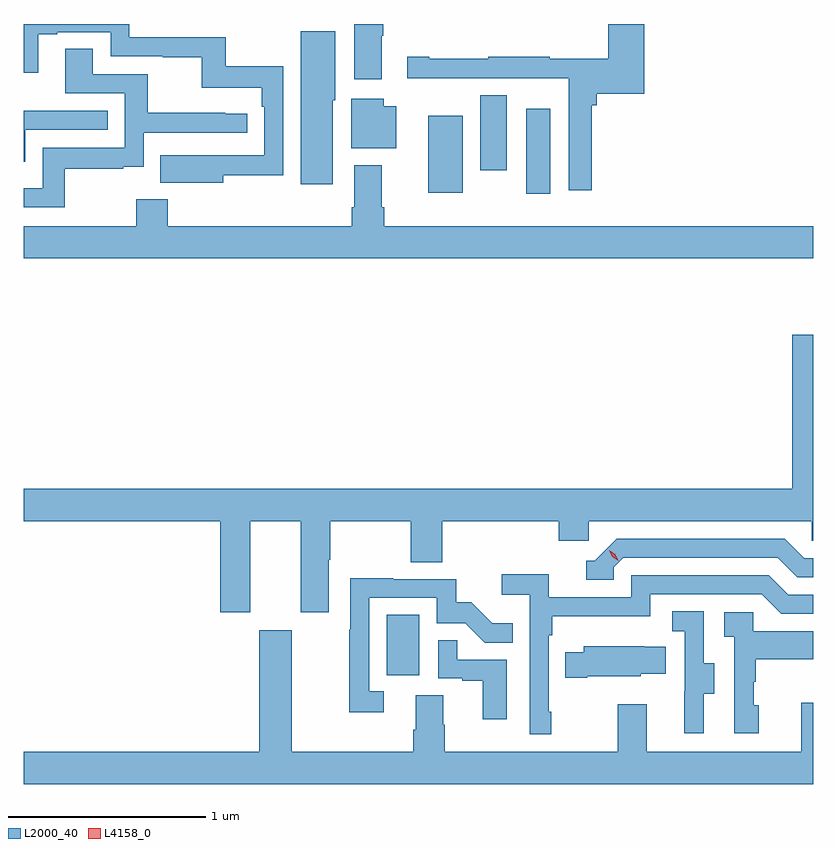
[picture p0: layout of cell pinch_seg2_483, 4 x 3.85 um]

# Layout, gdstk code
import gdstk
lib = gdstk.Library(unit=1e-6, precision=1e-09)
def R(c, l, rs):  # rectangles x0, y0, x1, y1
    for r in rs: c.add(gdstk.rectangle(r[:2], r[2:], *l))
def P(c, l, *ps):  # polygons
    for p in ps: c.add(gdstk.Polygon(p, *l))
L2000_40 = (2000, 40)
L4158_0 = (4158, 0)

pinch_seg2_483 = lib.new_cell('pinch_seg2_483')
R(pinch_seg2_483, L2000_40, [(982.502,585.582,982.666,585.889), (983.21,588.024,983.332,588.454), (982.712,588.029,982.888,588.418), (982.976,588.144,983.11,588.524)])
P(pinch_seg2_483, L2000_40, [(982.477,588.824),(982.485,588.824),(982.485,588.884),(982.337,588.884),(982.337,588.603),(982.477,588.603)],
  [(981.673,588.118),(981.978,588.118),(981.978,588.67),(981.685,588.67),(981.685,588.816),(981.198,588.816),(981.198,588.884),(980.663,588.884),(980.663,588.638),(980.737,588.638),(980.737,588.831),(980.833,588.831),(980.833,588.843),(981.102,588.843),(981.102,588.72),(981.367,588.72),(981.367,588.715),(981.564,588.715),(981.564,588.56),(981.869,588.56),(981.869,588.464),(981.882,588.464),(981.882,588.219),(981.569,588.219),(981.569,588.22),(981.355,588.22),(981.355,588.08),(981.673,588.08)],
  [(983.54,588.473),(983.567,588.473),(983.567,588.53),(983.807,588.53),(983.807,588.883),(983.624,588.883),(983.624,588.708),(983.327,588.708),(983.327,588.718),(983.017,588.718),(983.017,588.708),(982.717,588.708),(982.717,588.718),(982.605,588.718),(982.605,588.608),(982.88,588.608),(982.88,588.609),(983.214,588.609),(983.214,588.608),(983.424,588.608),(983.424,588.042),(983.54,588.042)],
  [(982.228,588.498),(982.24,588.498),(982.24,588.847),(982.067,588.847),(982.067,588.072),(982.228,588.072)],
  [(980.869,588.15),(981.167,588.15),(981.167,588.161),(981.27,588.161),(981.27,588.333),(981.796,588.333),(981.796,588.429),(981.683,588.429),(981.683,588.434),(981.29,588.434),(981.29,588.63),(981.013,588.63),(981.013,588.758),(980.873,588.758),(980.873,588.534),(981.174,588.534),(981.174,588.258),(980.758,588.258),(980.758,588.052),(980.663,588.052),(980.663,587.955),(980.869,587.955)],
  [(982.549,588.466),(982.486,588.466),(982.486,588.505),(982.322,588.505),(982.322,588.254),(982.549,588.254)],
  [(980.67,588.348),(981.089,588.348),(981.089,588.444),(980.663,588.444),(980.663,588.185),(980.67,588.185)],
  [(984.663,587.86),(982.49,587.86),(982.49,587.956),(982.477,587.956),(982.477,588.169),(982.337,588.169),(982.337,587.956),(982.325,587.956),(982.325,587.86),(981.392,587.86),(981.392,587.995),(981.232,587.995),(981.232,587.86),(980.663,587.86),(980.663,587.696),(984.663,587.696)],
  [(981.811,586.364),(982.067,586.364),(982.067,585.903),(982.207,585.903),(982.207,586.168),(982.215,586.168),(982.215,586.364),(982.624,586.364),(982.624,586.156),(982.784,586.156),(982.784,586.364),(983.375,586.364),(983.375,586.266),(983.526,586.266),(983.526,586.364),(984.657,586.364),(984.657,586.266),(984.663,586.266),(984.663,587.308),(984.557,587.308),(984.557,586.528),(980.663,586.528),(980.663,586.364),(981.659,586.364),(981.659,585.903),(981.811,585.903)],
  [(983.652,586.131),(983.7,586.179),(984.483,586.179),(984.582,586.08),(984.663,586.08),(984.663,586.176),(984.619,586.176),(984.52,586.275),(983.667,586.275),(983.556,586.164),(983.513,586.164),(983.513,586.068),(983.652,586.068)],
  [(983.335,585.397),(983.322,585.397),(983.322,585.785),(983.342,585.785),(983.342,585.881),(983.838,585.881),(983.838,585.993),(984.402,585.993),(984.501,585.894),(984.663,585.894),(984.663,585.99),(984.538,585.99),(984.439,586.089),(983.742,586.089),(983.742,585.978),(983.324,585.978),(983.324,586.094),(983.085,586.094),(983.085,585.992),(983.226,585.992),(983.226,585.285),(983.335,585.285)],
  [(982.486,585.501),(982.413,585.501),(982.413,585.975),(982.755,585.975),(982.755,585.846),(982.9,585.846),(982.998,585.748),(983.141,585.748),(983.141,585.847),(983.037,585.847),(982.93,585.954),(982.854,585.954),(982.854,586.071),(982.535,586.071),(982.535,586.076),(982.317,586.076),(982.317,585.815),(982.312,585.815),(982.312,585.396),(982.486,585.396)],
  [(984.109,585.49),(984.163,585.49),(984.163,585.645),(984.108,585.645),(984.108,585.908),(983.949,585.908),(983.949,585.805),(984.012,585.805),(984.012,585.501),(984.011,585.501),(984.011,585.288),(984.109,585.288)],
  [(984.388,585.432),(984.363,585.432),(984.363,585.551),(984.373,585.551),(984.373,585.665),(984.663,585.665),(984.663,585.805),(984.36,585.805),(984.36,585.903),(984.213,585.903),(984.213,585.779),(984.264,585.779),(984.264,585.288),(984.388,585.288)],
  [(984.663,585.445),(984.602,585.445),(984.602,585.196),(983.821,585.196),(983.821,585.436),(983.674,585.436),(983.674,585.196),(982.797,585.196),(982.797,585.333),(982.789,585.333),(982.789,585.482),(982.649,585.482),(982.649,585.308),(982.637,585.308),(982.637,585.196),(982.021,585.196),(982.021,585.811),(981.857,585.811),(981.857,585.196),(980.663,585.196),(980.663,585.032),(984.663,585.032)],
  [(983.11,585.663),(982.859,585.663),(982.859,585.761),(982.764,585.761),(982.764,585.567),(982.885,585.567),(982.885,585.555),(982.988,585.555),(982.988,585.36),(983.11,585.36)],
  [(983.518,585.578),(983.79,585.578),(983.79,585.59),(983.915,585.59),(983.915,585.727),(983.807,585.727),(983.807,585.73),(983.501,585.73),(983.501,585.7),(983.407,585.7),(983.407,585.571),(983.518,585.571)])
P(pinch_seg2_483, L4158_0, [(983.675,586.164),(983.644,586.184),(983.629,586.217),(983.629,586.217),(983.629,586.217),(983.66,586.197),(983.675,586.164),(983.675,586.164)])

lib.write_gds('pinch_seg2_483.gds')
